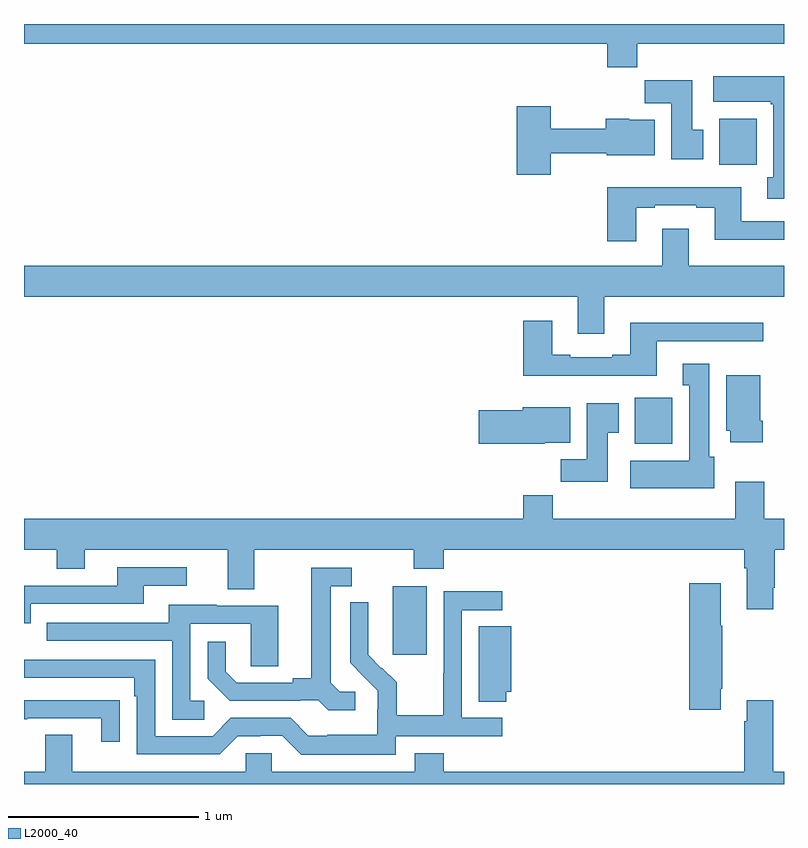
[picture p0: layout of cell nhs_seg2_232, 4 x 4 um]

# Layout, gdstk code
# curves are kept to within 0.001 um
import gdstk
lib = gdstk.Library(unit=1e-6, precision=1e-09)
def R(c, l, rs):  # rectangles x0, y0, x1, y1
    for r in rs: c.add(gdstk.rectangle(r[:2], r[2:], *l))
def P(c, l, *ps):  # polygons
    for p in ps: c.add(gdstk.Polygon(p, *l))
L2000_40 = (2000, 40)

nhs_seg2_232 = lib.new_cell('nhs_seg2_232')
R(nhs_seg2_232, L2000_40, [(124.94,584.481,125.119,584.842), (126.215,585.59,126.412,585.832), (126.659,587.06,126.856,587.302)])
P(nhs_seg2_232, L2000_40, [(126.227,587.696),(127,587.696),(127,587.8),(123,587.8),(123,587.696),(126.071,587.696),(126.071,587.572),(126.227,587.572)],
  [(127,587.524),(126.627,587.524),(126.627,587.39),(126.931,587.39),(126.931,587.377),(126.944,587.377),(126.944,586.994),(126.911,586.994),(126.911,586.881),(127,586.881)],
  [(126.574,587.244),(126.517,587.244),(126.517,587.503),(126.268,587.503),(126.268,587.384),(126.407,587.384),(126.407,587.088),(126.574,587.088)],
  [(125.772,587.119),(126.068,587.119),(126.068,587.108),(126.319,587.108),(126.319,587.296),(126.186,587.296),(126.186,587.302),(126.061,587.302),(126.061,587.248),(125.772,587.248),(125.772,587.368),(125.594,587.368),(125.594,587.007),(125.772,587.007)],
  [(126.223,586.833),(126.319,586.833),(126.319,586.845),(126.539,586.845),(126.539,586.833),(126.635,586.833),(126.635,586.664),(127,586.664),(127,586.761),(126.775,586.761),(126.775,586.942),(126.071,586.942),(126.071,586.656),(126.223,586.656)],
  [(126.055,586.364),(127,586.364),(127,586.528),(126.499,586.528),(126.499,586.723),(126.359,586.723),(126.359,586.528),(123,586.528),(123,586.364),(125.915,586.364),(125.915,586.17),(126.055,586.17)],
  [(126.331,586.131),(126.892,586.131),(126.892,586.228),(126.191,586.228),(126.191,586.06),(126.095,586.06),(126.095,586.047),(125.875,586.047),(125.875,586.06),(125.779,586.06),(125.779,586.237),(125.627,586.237),(125.627,585.95),(126.331,585.95)],
  [(126.634,585.522),(126.607,585.522),(126.607,586.012),(126.467,586.012),(126.467,585.899),(126.5,585.899),(126.5,585.502),(126.191,585.502),(126.191,585.356),(126.634,585.356)],
  [(126.887,585.712),(126.874,585.712),(126.874,585.952),(126.695,585.952),(126.695,585.66),(126.716,585.66),(126.716,585.6),(126.887,585.6)],
  [(126.073,585.649),(126.13,585.649),(126.13,585.805),(125.963,585.805),(125.963,585.508),(125.824,585.508),(125.824,585.39),(126.073,585.39)],
  [(125.742,585.596),(125.875,585.596),(125.875,585.784),(125.624,585.784),(125.624,585.767),(125.394,585.767),(125.394,585.59),(125.742,585.59)],
  [(126.943,584.833),(126.951,584.833),(126.951,585.032),(127,585.032),(127,585.196),(126.896,585.196),(126.896,585.391),(126.743,585.391),(126.743,585.196),(125.783,585.196),(125.783,585.32),(125.627,585.32),(125.627,585.196),(123,585.196),(123,585.032),(123.172,585.032),(123.172,584.933),(123.319,584.933),(123.319,585.032),(124.073,585.032),(124.073,584.824),(124.213,584.824),(124.213,585.032),(125.05,585.032),(125.05,584.933),(125.21,584.933),(125.21,585.032),(126.791,585.032),(126.791,584.936),(126.803,584.936),(126.803,584.721),(126.943,584.721)],
  [(123.036,584.748),(123.631,584.748),(123.631,584.844),(123.856,584.844),(123.856,584.94),(123.491,584.94),(123.491,584.844),(123,584.844),(123,584.645),(123.036,584.645)],
  [(124.744,584.286),(124.662,584.286),(124.615,584.333),(124.615,584.841),(124.726,584.841),(124.726,584.937),(124.511,584.937),(124.511,584.357),(124.415,584.357),(124.415,584.334),(124.12,584.334),(124.063,584.391),(124.063,584.548),(123.966,584.548),(123.966,584.354),(124.082,584.238),(124.454,584.238),(124.454,584.241),(124.548,584.241),(124.6,584.189),(124.744,584.189)],
  [(126.667,584.302),(126.675,584.302),(126.675,584.633),(126.667,584.633),(126.667,584.857),(126.5,584.857),(126.5,584.19),(126.667,584.19)],
  [(124.956,584.052),(125.518,584.052),(125.518,584.148),(125.304,584.148),(125.304,584.715),(125.518,584.715),(125.518,584.814),(125.208,584.814),(125.208,584.384),(125.206,584.384),(125.206,584.161),(124.961,584.161),(124.961,584.335),(124.884,584.412),(124.881,584.409),(124.811,584.48),(124.812,584.756),(124.716,584.756),(124.716,584.438),(124.862,584.29),(124.862,584.193),(124.86,584.193),(124.86,584.059),(124.597,584.059),(124.597,584.055),(124.497,584.055),(124.404,584.148),(124.089,584.148),(123.993,584.052),(123.69,584.052),(123.69,584.454),(123,584.454),(123,584.358),(123.581,584.358),(123.581,584.261),(123.594,584.261),(123.594,583.956),(124.029,583.956),(124.125,584.052),(124.244,584.052),(124.244,584.055),(124.359,584.055),(124.459,583.955),(124.956,583.955)],
  [(123.949,584.238),(123.876,584.238),(123.876,584.643),(124.194,584.643),(124.194,584.419),(124.339,584.419),(124.339,584.739),(124.015,584.739),(124.015,584.743),(123.761,584.743),(123.761,584.649),(123.121,584.649),(123.121,584.553),(123.78,584.553),(123.78,584.137),(123.949,584.137)],
  [(125.537,584.286),(125.564,584.286),(125.564,584.63),(125.393,584.63),(125.393,584.233),(125.537,584.233)],
  [(127,583.864),(126.943,583.864),(126.943,584.242),(126.803,584.242),(126.803,584.129),(126.791,584.129),(126.791,583.864),(125.21,583.864),(125.21,583.963),(125.057,583.963),(125.057,583.864),(124.305,583.864),(124.305,583.962),(124.167,583.962),(124.167,583.864),(123.253,583.864),(123.253,584.059),(123.113,584.059),(123.113,583.864),(123,583.864),(123,583.8),(127,583.8)],
  [(123.503,584.24),(123.401,584.24),(123.401,584.241),(123,584.241),(123,584.14),(123.017,584.14),(123.017,584.145),(123.407,584.145),(123.407,584.022),(123.503,584.022)])

lib.write_gds('nhs_seg2_232.gds')
